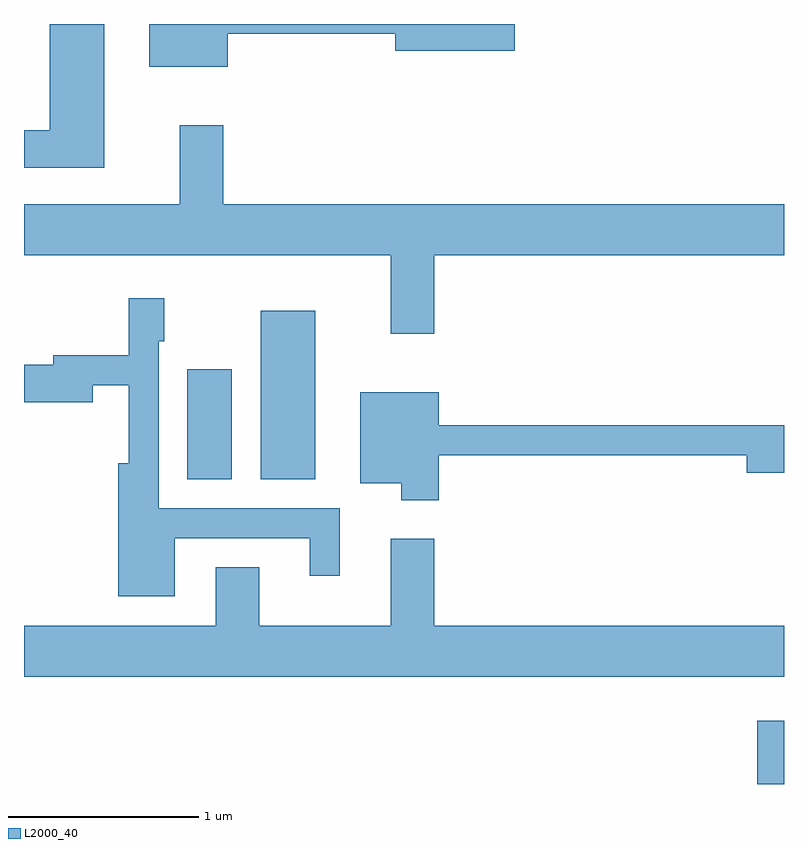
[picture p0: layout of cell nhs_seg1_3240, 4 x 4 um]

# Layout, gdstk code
import gdstk
lib = gdstk.Library(unit=1e-6, precision=1e-09)
def R(c, l, rs):  # rectangles x0, y0, x1, y1
    for r in rs: c.add(gdstk.rectangle(r[:2], r[2:], *l))
def P(c, l, *ps):  # polygons
    for p in ps: c.add(gdstk.Polygon(p, *l))
L2000_40 = (2000, 40)

nhs_seg1_3240 = lib.new_cell('nhs_seg1_3240')
R(nhs_seg1_3240, L2000_40, [(287.471,865.712,287.611,866.044), (284.471,867.316,284.704,867.894), (284.856,867.316,285.144,868.204)])
P(nhs_seg1_3240, L2000_40, [(284.684,869.661),(285.566,869.661),(285.566,869.571),(286.194,869.571),(286.194,869.712),(284.271,869.712),(284.271,869.486),(284.684,869.486)],
  [(284.034,869.712),(283.746,869.712),(283.746,869.154),(283.611,869.154),(283.611,868.956),(284.034,868.956)],
  [(285.769,868.496),(287.611,868.496),(287.611,868.764),(284.659,868.764),(284.659,869.179),(284.431,869.179),(284.431,868.764),(283.611,868.764),(283.611,868.496),(285.541,868.496),(285.541,868.081),(285.769,868.081)],
  [(284.404,867.006),(285.116,867.006),(285.116,866.808),(285.274,866.808),(285.274,867.164),(284.319,867.164),(284.319,868.041),(284.349,868.041),(284.349,868.269),(284.161,868.269),(284.161,867.969),(283.766,867.969),(283.766,867.919),(283.611,867.919),(283.611,867.721),(283.974,867.721),(283.974,867.811),(284.161,867.811),(284.161,867.399),(284.106,867.399),(284.106,866.701),(284.404,866.701)],
  [(285.794,867.441),(287.416,867.441),(287.416,867.351),(287.611,867.351),(287.611,867.599),(285.794,867.599),(285.794,867.774),(285.381,867.774),(285.381,867.296),(285.596,867.296),(285.596,867.206),(285.794,867.206)],
  [(287.611,866.544),(285.769,866.544),(285.769,867.004),(285.541,867.004),(285.541,866.544),(284.849,866.544),(284.849,866.854),(284.621,866.854),(284.621,866.544),(283.611,866.544),(283.611,866.276),(287.611,866.276)])

lib.write_gds('nhs_seg1_3240.gds')
